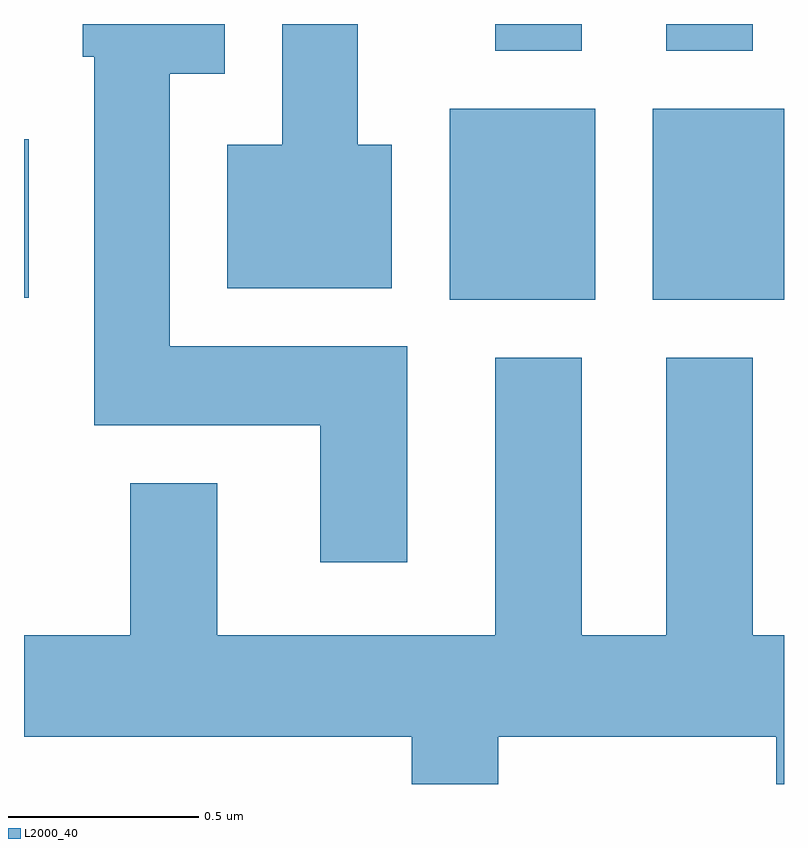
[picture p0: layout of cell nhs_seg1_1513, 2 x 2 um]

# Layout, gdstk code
import gdstk
lib = gdstk.Library(unit=1e-6, precision=1e-09)
def R(c, l, rs):  # rectangles x0, y0, x1, y1
    for r in rs: c.add(gdstk.rectangle(r[:2], r[2:], *l))
def P(c, l, *ps):  # polygons
    for p in ps: c.add(gdstk.Polygon(p, *l))
L2000_40 = (2000, 40)

nhs_seg1_1513 = lib.new_cell('nhs_seg1_1513')
R(nhs_seg1_1513, L2000_40, [(197.731,862.986,198.114,863.489), (198.266,862.986,198.611,863.489), (196.611,862.991,196.624,863.409), (197.851,863.641,198.079,863.712), (198.301,863.641,198.529,863.712)])
P(nhs_seg1_1513, L2000_40, [(197.619,862.864),(196.994,862.864),(196.994,863.581),(197.139,863.581),(197.139,863.712),(196.766,863.712),(196.766,863.626),(196.796,863.626),(196.796,862.656),(197.391,862.656),(197.391,862.296),(197.619,862.296)],
  [(197.579,863.394),(197.489,863.394),(197.489,863.712),(197.291,863.712),(197.291,863.394),(197.146,863.394),(197.146,863.016),(197.579,863.016)],
  [(197.859,861.836),(198.591,861.836),(198.591,861.712),(198.611,861.712),(198.611,862.104),(198.529,862.104),(198.529,862.834),(198.301,862.834),(198.301,862.104),(198.079,862.104),(198.079,862.834),(197.851,862.834),(197.851,862.104),(197.119,862.104),(197.119,862.504),(196.891,862.504),(196.891,862.104),(196.611,862.104),(196.611,861.836),(197.631,861.836),(197.631,861.712),(197.859,861.712)])

lib.write_gds('nhs_seg1_1513.gds')
